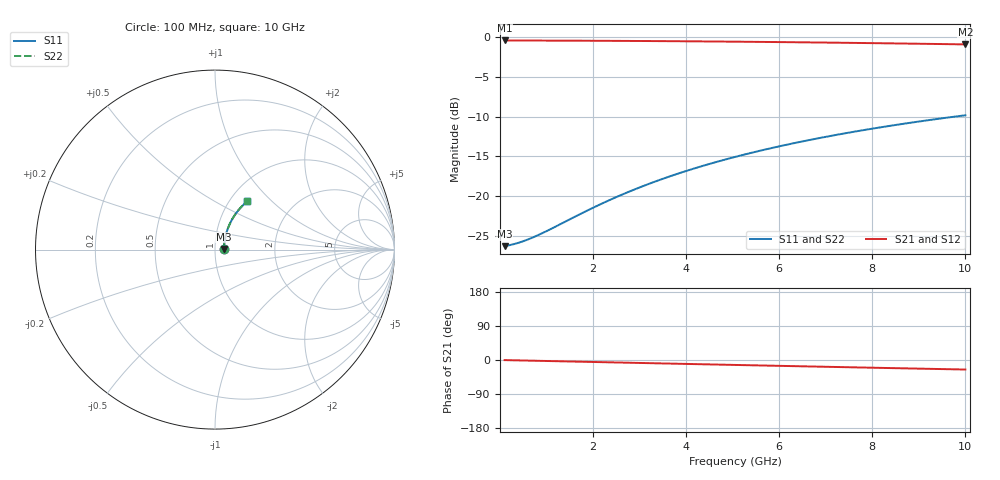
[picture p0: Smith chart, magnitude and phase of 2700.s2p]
# Hz S RI R 50.00
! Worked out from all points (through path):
!   100 points, 100 MHz to 10 GHz, reference 50 ohm
!   highest |S21| = -0.43 dB at 100 MHz (marker M1); lowest = -0.9 dB at 10 GHz (marker M2)
!   group delay of S21, straight-line fit = 7 ps
!   lowest |S11| = -26.3 dB at 100 MHz (marker M3), VSWR 1.10, Z = 55.1 + j0.354 ohm
!   |S11| at or under -10 dB: start of sweep to 9.767 GHz
!   |S22| runs from -26.3 to -9.8 dB; largest |S21 - S12| = 1e-12
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1e8  0.0485 0.0032  0.9515 -0.00433  0.9515 -0.00433  0.0485 0.0032
3e8  0.0492 0.00959  0.9508 -0.013  0.9508 -0.013  0.0492 0.00959
4e8  0.0495 0.0128  0.9505 -0.0173  0.9505 -0.0173  0.0495 0.0128
5e8  0.0497 0.016  0.9502 -0.0216  0.9502 -0.0216  0.0497 0.016
7e8  0.0503 0.0223  0.9496 -0.0302  0.9496 -0.0302  0.0503 0.0223
1e9  0.0514 0.0318  0.9486 -0.0431  0.9486 -0.0431  0.0514 0.0318
1.8e9  0.0552 0.057  0.9446 -0.0773  0.9446 -0.0773  0.0552 0.057
2.2e9  0.0577 0.0695  0.942 -0.0943  0.942 -0.0943  0.0577 0.0695
2.6e9  0.0606 0.0818  0.9389 -0.1111  0.9389 -0.1111  0.0606 0.0818
3e9  0.064 0.094  0.9354 -0.1278  0.9354 -0.1278  0.064 0.094
3.4e9  0.0677 0.106  0.9315 -0.1444  0.9315 -0.1444  0.0677 0.106
3.8e9  0.0719 0.1178  0.9271 -0.1608  0.9271 -0.1608  0.0719 0.1178
4.2e9  0.0765 0.1295  0.9224 -0.1769  0.9224 -0.1769  0.0765 0.1295
4.6e9  0.0814 0.1409  0.9172 -0.1929  0.9172 -0.1929  0.0814 0.1409
5.1e9  0.0881 0.1549  0.9101 -0.2126  0.9101 -0.2126  0.0881 0.1549
5.5e9  0.0939 0.1658  0.904 -0.228  0.904 -0.228  0.0939 0.1658
5.9e9  0.1001 0.1764  0.8976 -0.2432  0.8976 -0.2432  0.1001 0.1764
6.7e9  0.1133 0.1969  0.8837 -0.2728  0.8837 -0.2728  0.1133 0.1969
7.5e9  0.1278 0.2161  0.8684 -0.3012  0.8684 -0.3012  0.1278 0.2161
8.4e9  0.1454 0.2363  0.8498 -0.3317  0.8498 -0.3317  0.1454 0.2363
9.2e9  0.1621 0.2529  0.8322 -0.3574  0.8322 -0.3574  0.1621 0.2529
1e10  0.1796 0.268  0.8137 -0.3818  0.8137 -0.3818  0.1796 0.268
